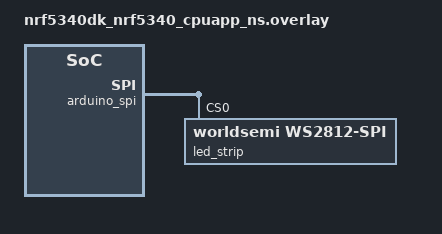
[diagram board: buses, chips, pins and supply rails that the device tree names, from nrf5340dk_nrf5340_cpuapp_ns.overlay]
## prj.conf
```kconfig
CONFIG_LOG=y
CONFIG_LED_STRIP=y
CONFIG_LED_STRIP_LOG_LEVEL_DBG=y
CONFIG_WS2812_STRIP=y
CONFIG_WS2812_STRIP_SPI=y
CONFIG_SPI=y

# This driver only uses spi_write() with the SPIM instance it allocates,
# so PAN 58 doesn't matter, because the RX length is always 0.
# CONFIG_SOC_NRF52832_ALLOW_SPIM_DESPITE_PAN_58=y
```

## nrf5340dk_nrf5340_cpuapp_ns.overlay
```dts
// To get started, press Ctrl+Space (or Option+Esc) to bring up the completion menu and view the available nodes.

// You can also use the buttons in the sidebar to perform actions on nodes.
// Actions currently available include:

// * Enabling / disabling the node
// * Adding the bus to a bus
// * Removing the node
// * Connecting ADC channels

// For more help, browse the DeviceTree documentation at https: //docs.zephyrproject.org/latest/guides/dts/index.html
// You can also visit the nRF DeviceTree extension documentation at https: //nrfconnect.github.io/vscode-nrf-connect/devicetree/nrfdevicetree.html

#include <zephyr/dt-bindings/led/led.h>

#include "nrf52-bindings.h"

// &spi2 {
    //     compatible = "nordic,nrf-spim";
    //     status = "okay";
    //     /* Note that this pin is not routed to the gpio header on nRF5340-DK, it routed directly to the external flash */
    //     mosi-pin = <16>;
    //     led_strip: ws2812@0 {
        //         compatible = "worldsemi,ws2812-spi";
        //         label = "WS2812";

        //         /* SPI */
        //         reg = <0>; /* ignored, but necessary for SPI bindings */
        //         spi-max-frequency = <SPI_FREQ>;

        //         /* WS2812 */
        //         chain-length = <24>; /* arbitrary; change at will */
        //         color-mapping = <LED_COLOR_ID_GREEN
        //         LED_COLOR_ID_RED
        //         LED_COLOR_ID_BLUE>;
        //         spi-one-frame = <ONE_FRAME>;
        //         spi-zero-frame = <ZERO_FRAME>;
    //     };
// };

// / {
    //     aliases {
        //         led-strip = &led_strip;
    //     };
// };

&arduino_spi {/* MOSI on D11 / P0.23 */
    compatible = "nordic,nrf-spim";
    led_strip: ws2812@0 {
        compatible = "worldsemi,ws2812-spi";

        /* SPI */
        reg = <0>; /* ignored, but necessary for SPI bindings */
        spi-max-frequency = <SPI_FREQ>;

        /* WS2812 */
        chain-length = <24>; /* arbitrary; change at will */
        color-mapping = <   LED_COLOR_ID_GREEN
        LED_COLOR_ID_RED
        LED_COLOR_ID_BLUE>;
        spi-one-frame = <ONE_FRAME>;
        spi-zero-frame = <ZERO_FRAME>;
    };
};

/ {
    aliases {
        led-strip = &led_strip;
    };
};
```

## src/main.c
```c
/*
 * Copyright (c) 2017 Linaro Limited
 * Copyright (c) 2018 Intel Corporation
 *
 * SPDX-License-Identifier: Apache-2.0
 */

#include <errno.h>
#include <string.h>

#define LOG_LEVEL 4
#include <zephyr/logging/log.h>
LOG_MODULE_REGISTER(main);

#include <zephyr/kernel.h>
#include <zephyr/drivers/led_strip.h>
#include <zephyr/device.h>
#include <zephyr/drivers/spi.h>
#include <zephyr/sys/util.h>

#define STRIP_NODE		DT_ALIAS(led_strip)
#define STRIP_NUM_PIXELS	DT_PROP(DT_ALIAS(led_strip), chain_length)

#define DELAY_TIME K_MSEC(50)

#define RGB(_r, _g, _b) { .r = (_r), .g = (_g), .b = (_b) }

static const struct led_rgb colors[] = {
	RGB(0x0f, 0x00, 0x00), /* red */
	RGB(0x00, 0x0f, 0x00), /* green */
	RGB(0x00, 0x00, 0x0f), /* blue */
};

// initialize struct of type led_rgb array, in our case 24 pixel leds
struct led_rgb pixels[STRIP_NUM_PIXELS];

// const (*const) pointer, we can change the value of object pointed by pointer, but cannot change the pointer to point another variable. 
static const struct device *const strip = DEVICE_DT_GET(STRIP_NODE); 

void main(void)
{
	size_t cursor = 0, color = 0;
	int rc;

	if (device_is_ready(strip)) {
		LOG_INF("Found LED strip device %s", strip->name);
	} else {
		LOG_ERR("LED strip device %s is not ready", strip->name);
		return;
	}

	LOG_INF("Displaying pattern on strip");
	while (1) {
		memset(&pixels, 0x00, sizeof(pixels));
		memcpy(&pixels[cursor], &colors[color], sizeof(struct led_rgb));
		rc = led_strip_update_rgb(strip, pixels, STRIP_NUM_PIXELS);

		if (rc) {
			LOG_ERR("couldn't update strip: %d", rc);
		}

		cursor++;
		if (cursor >= STRIP_NUM_PIXELS) {
			cursor = 0;
			color++;
			if (color == ARRAY_SIZE(colors)) {
				color = 0;
			}
		}

		k_sleep(DELAY_TIME);
	}
}
```
